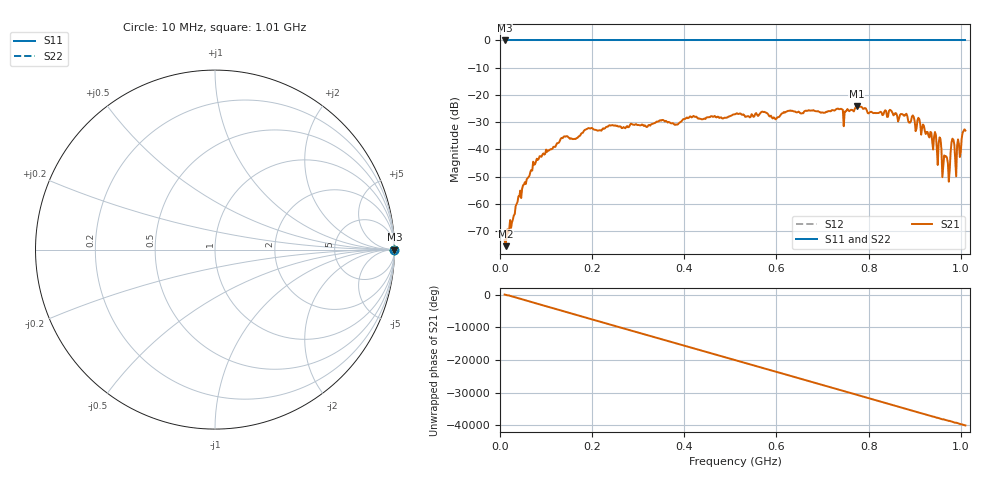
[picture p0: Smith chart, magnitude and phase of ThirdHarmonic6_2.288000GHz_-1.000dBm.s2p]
! 8/17/2025 3:01:08 AM
! C:\ANRITSUVNA\TEMP\TEMP.S2P
! CHANNEL.1
! TR.MEASUREMENT
! RAW.DATA
! RF.CORRECTION.OFF
! AVERAGING.OFF
! IF.BANDWIDTH: 5KHZ
! SWEEPTYPE:  FREQ.SWEEP(Linear)
! Reference Plane Port Info
! PORT:  PORT1  PORT2
! DISTANCE:  0  m  0  m
! TIME:  0  s  0  s
! PHASE.OFFSET:  0  deg.  0  deg.
! LOSS:  0  dB  0  dB
! REF.LOSS:  0  dB  0  dB
! REF.FREQ:  0  Hz  0  Hz
! Power Info
! POWER:  -20  dBm  -20  dBm
! EFF.POWER:  -20  dBm  -20  dBm
! SOURCE.ATTEN:  0  dB  0  dB
! TEST.ATTEN:  0  dB  0  dB
# GHZ S RI R 50.0
! FREQ.GHZ  S11RE  S11IM  S21RE  S21IM  S12RE  S12IM  S22RE  S22IM
!; PortSelection: Port_12
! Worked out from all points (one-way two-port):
!   501 points, 10 MHz to 1.01 GHz, reference 50 ohm
!   highest |S21| = -24.04 dB at 774 MHz (marker M1); lowest = -75.5 dB at 12 MHz (marker M2)
!   lowest |S11| = 0.0 dB at 10 MHz (marker M3)
!   |S11| at or under -10 dB: nowhere
!   |S22| runs from 0.0 to 0.0 dB; largest |S21 - S12| = 1.1
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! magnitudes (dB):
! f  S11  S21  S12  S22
! 10 MHz  0.0  -73.2  0.0  0.0
! 12 MHz  0.0  -75.5  0.0  0.0
! 40 MHz  0.0  -57.2  0.0  0.0
! 76 MHz  0.0  -45.4  0.0  0.0
! 136 MHz  0.0  -35.8  0.0  0.0
! 178 MHz  0.0  -34.0  0.0  0.0
! 344 MHz  0.0  -29.7  0.0  0.0
! 510 MHz  0.0  -27.1  0.0  0.0
! 596 MHz  0.0  -28.5  0.0  0.0
! 678 MHz  0.0  -25.7  0.0  0.0
! 748 MHz  0.0  -26.1  0.0  0.0
! 774 MHz  0.0  -24.0  0.0  0.0
! 844 MHz  0.0  -25.9  0.0  0.0
! 908 MHz  0.0  -28.4  0.0  0.0
! 954 MHz  0.0  -35.6  0.0  0.0
! 962 MHz  0.0  -46.3  0.0  0.0
! 968 MHz  0.0  -42.5  0.0  0.0
! 972 MHz  0.0  -45.0  0.0  0.0
! 982 MHz  0.0  -36.0  0.0  0.0
! 986 MHz  0.0  -38.2  0.0  0.0
! 994 MHz  0.0  -36.3  0.0  0.0
! 1.01 GHz  0.0  -33.1  0.0  0.0
